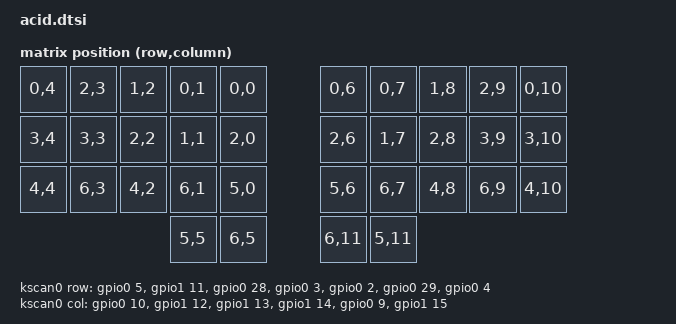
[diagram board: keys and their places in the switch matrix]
#include <dt-bindings/zmk/matrix_transform.h>
#include <physical_layouts.dtsi>
#include "acid-layouts.dtsi"

/ {
    chosen {
        zmk,kscan = &kscan0;
        zmk,physical-layout = &default_layout;
    };
};

/* By design, the Forager Acid pin assignment and thus wiring matrix is the
 * same for the left and right halves, so can define the GPIOs once centrally:
 * Columns: P0.10, P1.12 (D7), P1.13 (D8), P1.14 (D9), P0.09, P1.15 (D10)
 * Rows: P0.05 (D5), P1.11 (D6), P0.28 (D2), P0.03 (D1), P0.02 (D0), P0.29 (D3), P0.04 (D4)
 *
 * Could use &xiao_d 7 instead of &gpio0 4 for most of the pins, but not the
 * two NFC ones,
 */

/ {
    kscan0: kscan0 {
        compatible = "zmk,kscan-gpio-matrix";
        diode-direction = "col2row";
        wakeup-source;

        col-gpios
            = <&gpio0 10 GPIO_OPEN_SOURCE>
            , <&gpio1 12 GPIO_OPEN_SOURCE>
            , <&gpio1 13 GPIO_OPEN_SOURCE>
            , <&gpio1 14 GPIO_OPEN_SOURCE>
            , <&gpio0 9 GPIO_OPEN_SOURCE>
            , <&gpio1 15 GPIO_OPEN_SOURCE>
            ;

        row-gpios
            = <&gpio0 5 (GPIO_ACTIVE_HIGH | GPIO_PULL_DOWN)>
            , <&gpio1 11 (GPIO_ACTIVE_HIGH | GPIO_PULL_DOWN)>
            , <&gpio0 28 (GPIO_ACTIVE_HIGH | GPIO_PULL_DOWN)>
            , <&gpio0 3 (GPIO_ACTIVE_HIGH | GPIO_PULL_DOWN)>
            , <&gpio0 2 (GPIO_ACTIVE_HIGH | GPIO_PULL_DOWN)>
            , <&gpio0 29 (GPIO_ACTIVE_HIGH | GPIO_PULL_DOWN)>
            , <&gpio0 4 (GPIO_ACTIVE_HIGH | GPIO_PULL_DOWN)>
            ;
    };
};

/* The columns and row value here are the scaning matrix (GPIOs), not physical */
/* The column number is doubled for the left/right, and col-offset 6 used on right */
/ {
    default_transform: keymap_transform_0 {
        compatible = "zmk,matrix-transform";
        columns = <12>;
        rows = <7>;

        map = <
            RC(0,4) RC(2,3) RC(1,2) RC(0,1) RC(0,0)  RC(0,6) RC(0,7) RC(1,8) RC(2,9) RC(0,10)
            RC(3,4) RC(3,3) RC(2,2) RC(1,1) RC(2,0)  RC(2,6) RC(1,7) RC(2,8) RC(3,9) RC(3,10)
            RC(4,4) RC(6,3) RC(4,2) RC(6,1) RC(5,0)  RC(5,6) RC(6,7) RC(4,8) RC(6,9) RC(4,10)
                                    RC(5,5) RC(6,5) RC(6,11) RC(5,11)
        >;
    };
};

&xiao_serial {
    status = "disabled";
};
